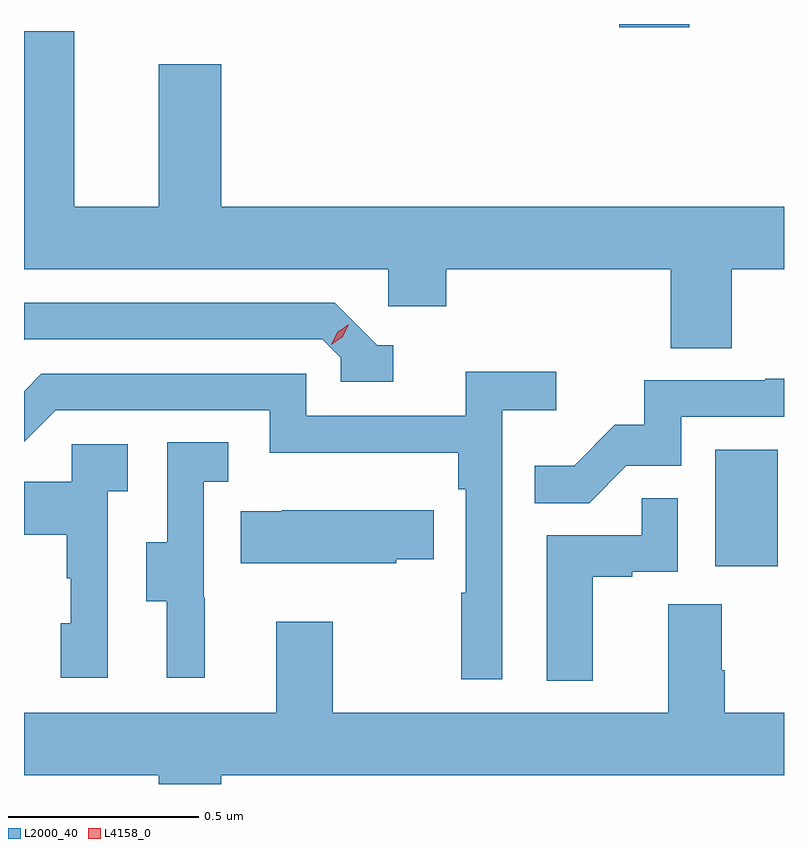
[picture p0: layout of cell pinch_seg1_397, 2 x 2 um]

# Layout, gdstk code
import gdstk
lib = gdstk.Library(unit=1e-6, precision=1e-09)
def R(c, l, rs):  # rectangles x0, y0, x1, y1
    for r in rs: c.add(gdstk.rectangle(r[:2], r[2:], *l))
def P(c, l, *ps):  # polygons
    for p in ps: c.add(gdstk.Polygon(p, *l))
L2000_40 = (2000, 40)
L4158_0 = (4158, 0)

pinch_seg1_397 = lib.new_cell('pinch_seg1_397')
R(pinch_seg1_397, L2000_40, [(1005.632,537.63,1005.796,537.937), (1005.38,539.049,1005.563,539.057)])
P(pinch_seg1_397, L2000_40, [(1005.675,538.412),(1005.813,538.412),(1005.813,538.576),(1004.332,538.576),(1004.332,538.951),(1004.168,538.951),(1004.168,538.576),(1003.945,538.576),(1003.945,539.038),(1003.813,539.038),(1003.813,538.412),(1004.772,538.412),(1004.772,538.314),(1004.924,538.314),(1004.924,538.412),(1005.515,538.412),(1005.515,538.204),(1005.675,538.204)],
  [(1004.785,538.212),(1004.742,538.212),(1004.631,538.323),(1003.813,538.323),(1003.813,538.225),(1003.815,538.227),(1004.598,538.227),(1004.646,538.179),(1004.646,538.116),(1004.785,538.116)],
  [(1005.072,538.04),(1005.214,538.04),(1005.214,538.142),(1004.975,538.142),(1004.975,538.026),(1004.556,538.026),(1004.556,538.137),(1003.859,538.137),(1003.813,538.091),(1003.813,537.958),(1003.896,538.041),(1004.46,538.041),(1004.46,537.929),(1004.956,537.929),(1004.956,537.833),(1004.976,537.833),(1004.976,537.56),(1004.964,537.56),(1004.964,537.333),(1005.072,537.333)],
  [(1005.398,537.894),(1005.543,537.894),(1005.543,538.023),(1005.813,538.023),(1005.813,538.124),(1005.763,538.124),(1005.763,538.119),(1005.445,538.119),(1005.445,538.002),(1005.368,538.002),(1005.261,537.895),(1005.157,537.895),(1005.157,537.796),(1005.3,537.796)],
  [(1004.288,537.549),(1004.286,537.549),(1004.286,537.853),(1004.35,537.853),(1004.35,537.956),(1004.19,537.956),(1004.19,537.693),(1004.135,537.693),(1004.135,537.538),(1004.189,537.538),(1004.189,537.336),(1004.288,537.336)],
  [(1004.034,537.827),(1004.086,537.827),(1004.086,537.951),(1003.938,537.951),(1003.938,537.853),(1003.813,537.853),(1003.813,537.713),(1003.926,537.713),(1003.926,537.599),(1003.936,537.599),(1003.936,537.48),(1003.91,537.48),(1003.91,537.336),(1004.034,537.336)],
  [(1005.31,537.603),(1005.413,537.603),(1005.413,537.615),(1005.534,537.615),(1005.534,537.809),(1005.439,537.809),(1005.439,537.711),(1005.188,537.711),(1005.188,537.329),(1005.31,537.329)],
  [(1004.793,537.649),(1004.891,537.649),(1004.891,537.778),(1004.491,537.778),(1004.491,537.775),(1004.383,537.775),(1004.383,537.638),(1004.793,537.638)],
  [(1004.332,537.08),(1005.813,537.08),(1005.813,537.244),(1005.657,537.244),(1005.657,537.356),(1005.649,537.356),(1005.649,537.53),(1005.509,537.53),(1005.509,537.244),(1004.625,537.244),(1004.625,537.484),(1004.477,537.484),(1004.477,537.244),(1003.813,537.244),(1003.813,537.08),(1004.168,537.08),(1004.168,537.057),(1004.332,537.057)])
P(pinch_seg1_397, L4158_0, [(1004.622,538.213),(1004.622,538.213),(1004.637,538.246),(1004.667,538.267),(1004.667,538.267),(1004.667,538.267),(1004.652,538.234),(1004.622,538.213)])

lib.write_gds('pinch_seg1_397.gds')
